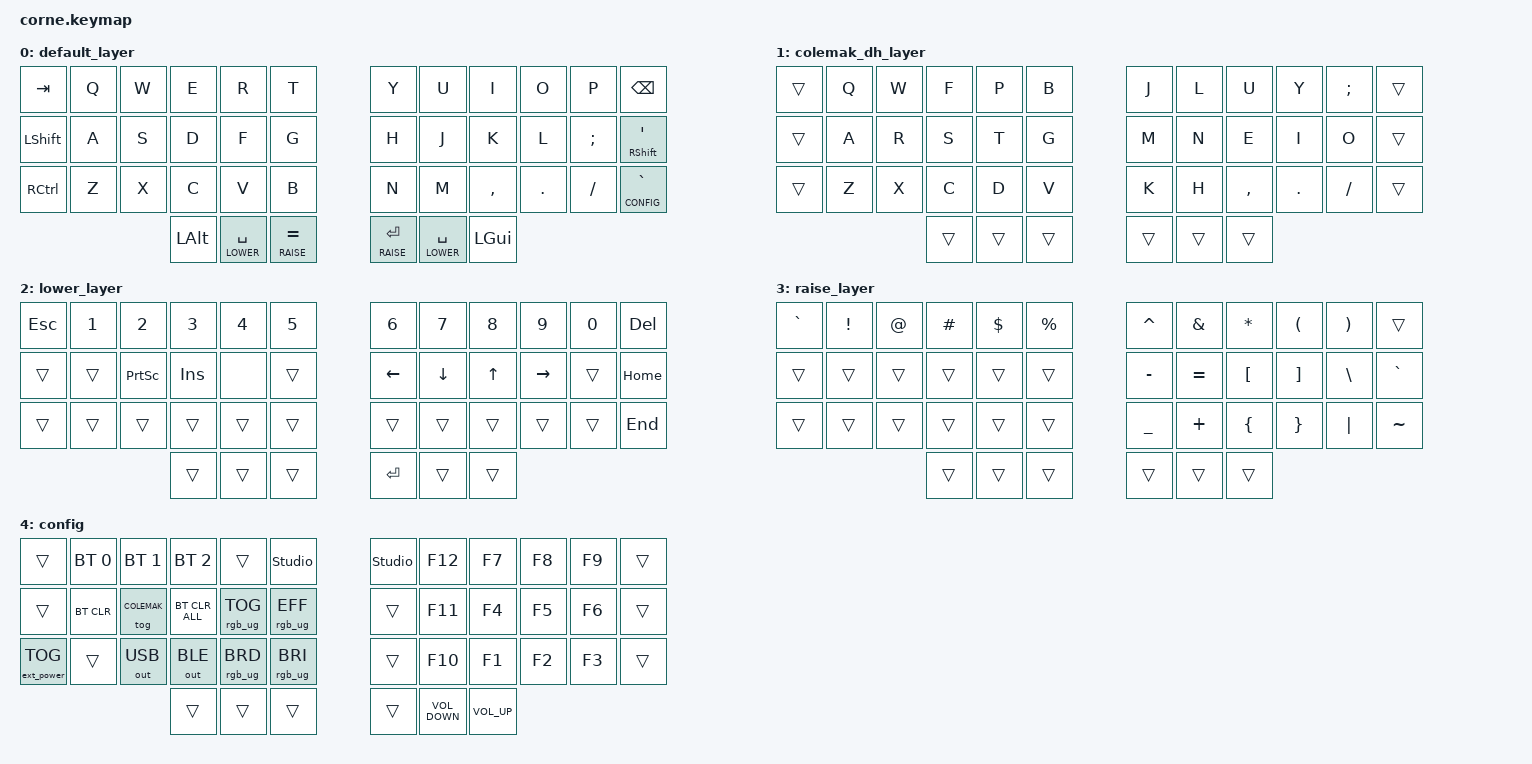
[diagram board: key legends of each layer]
/*
 * Copyright (c) 2020 The ZMK Contributors
 *
 * SPDX-License-Identifier: MIT
 */
// ZMK includes

#include <behaviors.dtsi>
#include <dt-bindings/zmk/bt.h>
#include <dt-bindings/zmk/ext_power.h>
#include <dt-bindings/zmk/keys.h>
#include <dt-bindings/zmk/outputs.h>
#include <dt-bindings/zmk/rgb.h>

// Layer indices. COLEMAK must sit directly above BASE so that, while it is
// toggled on, LOWER/RAISE/CONFIG still take priority over it.
#define BASE 0
#define COLEMAK 1
#define LOWER 2
#define RAISE 3
#define CONFIG 4

/*
 * Blue (clicky) switches chatter more than the 5ms ZMK default debounce
 * accounts for, causing random double key presses. Raise both press and
 * release debounce to filter that out. (Placed here, not in
 * nice_nano_v2.overlay, because &kscan0 is only defined once the shield's
 * corne.dtsi has been merged in, which happens before the keymap overlay
 * is applied but after the board overlay.)
 */
&kscan0 {
    debounce-press-ms = <10>;
    debounce-release-ms = <10>;
};

/*
 * Same ordering gotcha as &kscan0 above: led_strip is defined by the
 * shield's boards/nice_nano_v2.overlay, merged in after the board overlay
 * but before this keymap overlay, so the override has to live here.
 * Corrects the shield's default chain-length (10) to this build's actual
 * LED count (21: back-edge underglow + under-switch).
 */
#define LED_COUNT 21

&led_strip {
    chain-length = <LED_COUNT>;
};

/*
 * Route the underglow through the BT profile indicator (rgb_layer_color
 * module), which lights the active profile's key LED on top of it. LED
 * indices are set in corne.conf (RGB_BT_PROFILE_INDICATOR_LED_<n>).
 */
/ {
    indicator_strip: indicator_strip {
        compatible = "gpmontt,led-strip-indicator";
        led-strip = <&led_strip>;
        chain-length = <LED_COUNT>;
    };

    chosen {
        zmk,underglow = &indicator_strip;
    };
};

/ {
    macros {
        lower_layer: lower_layer {
            compatible = "zmk,behavior-macro";
            #binding-cells = <0>;
            bindings =
                <&macro_press>,
                <&lt LOWER SPACE>,
                <&macro_tap>,
                <&rgb_ug RGB_ON &rgb_ug RGB_COLOR_HSB(0,100,49)>,
                <&macro_pause_for_release>,
                <&macro_release>,
                <&lt LOWER SPACE>,
                <&macro_tap>,
                <&rgb_ug RGB_OFF>;

            label = "LOWER_LAYER";
        };

        raise_layer: raise_layer {
            compatible = "zmk,behavior-macro";
            #binding-cells = <0>;
            bindings =
                <&macro_press>,
                <&mo RAISE>,
                <&macro_tap>,
                <&rgb_ug RGB_ON &rgb_ug RGB_COLOR_HSB(300,51,43)>,
                <&macro_pause_for_release>,
                <&macro_release>,
                <&mo RAISE>,
                <&macro_tap>,
                <&rgb_ug RGB_OFF>;

            label = "RAISE_LAYER";
        };
    };

    // Combos (press both keys together; positions are physical, so they
    // work the same in QWERTY and Colemak-DH):
    //   E+R = {    D+F = [    C+V = (    |    U+I = }    J+K = ]    M+, = )
    //   TAB+T = reset left half          |    Y+BSPC = reset right half
    combos {
        compatible = "zmk,combos";

        L_Brace {
            bindings = <&kp LEFT_BRACE>;
            key-positions = <4 3>;
        };

        L_Brackets {
            bindings = <&kp LEFT_BRACKET>;
            key-positions = <16 15>;
        };

        L_Parenthesis {
            bindings = <&kp LEFT_PARENTHESIS>;
            key-positions = <28 27>;
        };

        R_Brace {
            bindings = <&kp RIGHT_BRACE>;
            key-positions = <7 8>;
        };

        R_Brackets {
            bindings = <&kp RIGHT_BRACKET>;
            key-positions = <20 19>;
        };

        R_Parenthesis {
            bindings = <&kp RIGHT_PARENTHESIS>;
            key-positions = <32 31>;
        };

        reset_left {
            bindings = <&sys_reset>;
            key-positions = <0 5>;
        };

        reset_right {
            bindings = <&sys_reset>;
            key-positions = <6 11>;
        };
    };

    behaviors {
        tp: tap_preferred {
            compatible = "zmk,behavior-hold-tap";
            label = "TAP_PREFERRED";
            bindings = <&none>, <&none>;

            #binding-cells = <2>;
            tapping-term-ms = <150>;
            quick-tap-ms = <0>;
            flavor = "tap-preferred";
        };
    };

    keymap {
        compatible = "zmk,keymap";

        default_layer {
            // -----------------------------------------------------------------------------------------
            // |  TAB |  Q  |  W  |  E  |  R  |  T  |   |  Y  |  U  |  I  |  O  |  P  | BSPC |
            // | SHFT |  A  |  S  |  D  |  F  |  G  |   |  H  |  J  |  K  |  L  |  ;  |'/SFT |
            // | RCTL |  Z  |  X  |  C  |  V  |  B  |   |  N  |  M  |  ,  |  .  |  /  |`/CFG |
            //                    | ALT |SPC/L|=/RSE|   |ENT/R|SPC/L| GUI |
            // hold: SFT = right shift, CFG = config layer, L = lower layer, R/RSE = raise layer

            bindings = <
&kp TAB     &kp Q  &kp W  &kp E         &kp R        &kp T          &kp Y        &kp U        &kp I      &kp O    &kp P     &kp BACKSPACE
&kp LSHIFT  &kp A  &kp S  &kp D         &kp F        &kp G          &kp H        &kp J        &kp K      &kp L    &kp SEMI  &mt RSHIFT APOS
&kp RCTRL   &kp Z  &kp X  &kp C         &kp V        &kp B          &kp N        &kp M        &kp COMMA  &kp DOT  &kp FSLH  &lt CONFIG GRAVE
                          &kp LEFT_ALT  &lt LOWER SPACE  &lt RAISE EQUAL    &lt RAISE ENTER  &lt LOWER SPACE  &kp LGUI
            >;
        };

        colemak_dh_layer {
            // Toggled on/off with &tog COLEMAK on the config layer. Only the
            // letter block changes; blank keys fall through to the default layer.
            // -----------------------------------------------------------------------------------------
            // |      |  Q  |  W  |  F  |  P  |  B  |   |  J  |  L  |  U  |  Y  |  ;  |      |
            // |      |  A  |  R  |  S  |  T  |  G  |   |  M  |  N  |  E  |  I  |  O  |      |
            // |      |  Z  |  X  |  C  |  D  |  V  |   |  K  |  H  |  ,  |  .  |  /  |      |
            //                    |     |     |     |   |     |     |     |

            bindings = <
&trans  &kp Q  &kp W  &kp F   &kp P   &kp B     &kp J   &kp L   &kp U      &kp Y    &kp SEMI  &trans
&trans  &kp A  &kp R  &kp S   &kp T   &kp G     &kp M   &kp N   &kp E      &kp I    &kp O     &trans
&trans  &kp Z  &kp X  &kp C   &kp D   &kp V     &kp K   &kp H   &kp COMMA  &kp DOT  &kp FSLH  &trans
                      &trans  &trans  &trans    &trans  &trans  &trans
            >;
        };

        lower_layer {
            // -----------------------------------------------------------------------------------------
            // |  ESC |  1  |  2  |  3  |  4  |  5  |   |  6  |  7  |  8  |  9  |  0  | DEL  |
            // |      |     |PSCRN| INS |  x  |     |   | LFT | DWN |  UP | RGT |     | HOME |
            // |      |     |     |     |     |     |   |     |     |     |     |     | END  |
            //                    |     |     |     |   | ENT |     |     |
            // blank = transparent, x = none

            bindings = <
&kp ESC  &kp N1  &kp N2           &kp N3   &kp N4  &kp N5    &kp N6     &kp N7    &kp N8  &kp N9     &kp N0  &kp DELETE
&trans   &trans  &kp PRINTSCREEN  &kp INS  &none   &trans    &kp LEFT   &kp DOWN  &kp UP  &kp RIGHT  &trans  &kp HOME
&trans   &trans  &trans           &trans   &trans  &trans    &trans     &trans    &trans  &trans     &trans  &kp END
                                  &trans   &trans  &trans    &kp ENTER  &trans    &trans
            >;
        };

        raise_layer {
            // -----------------------------------------------------------------------------------------
            // |   `  |  !  |  @  |  #  |  $  |  %  |   |  ^  |  &  |  *  |  (  |  )  |      |
            // |      |     |     |     |     |     |   |  -  |  =  |  [  |  ]  |  \  |  `   |
            // |      |     |     |     |     |     |   |  _  |  +  |  {  |  }  |  |  |  ~   |
            //                    |     |     |     |   |     |     |     |
            // blank = transparent

            bindings = <
&kp GRAVE  &kp EXCL  &kp AT  &kp HASH  &kp DLLR  &kp PRCNT    &kp CARET  &kp AMPS   &kp ASTERISK  &kp LPAR  &kp RPAR  &trans
&trans     &trans    &trans  &trans    &trans    &trans       &kp MINUS  &kp EQUAL  &kp LBKT      &kp RBKT  &kp BSLH  &kp GRAVE
&trans     &trans    &trans  &trans    &trans    &trans       &kp UNDER  &kp PLUS   &kp LBRC      &kp RBRC  &kp PIPE  &kp TILDE
                             &trans    &trans    &trans       &trans     &trans     &trans
            >;
        };

        config {
            // -----------------------------------------------------------------------------------------
            // |      | BT0 | BT1 | BT2 |     |STUDI|   |STUDI| F12 |  F7 |  F8 |  F9 |      |
            // |      |BTCLR|CLMAK|BTCLA|RGBTG|RGBEF|   |     | F11 |  F4 |  F5 |  F6 |      |
            // | EXTPW|     | USB | BLE |BRT- |BRT+ |   |     | F10 |  F1 |  F2 |  F3 |      |
            //                    |     |     |     |   |     |VOL- |VOL+ |
            // BT0-2 = select BT profile, BTCLR = clear current profile, BTCLA = clear all profiles,
            // USB/BLE = send output over USB/BLE,
            // CLMAK = toggle Colemak-DH, STUDI = ZMK Studio unlock, RGBTG = underglow on/off,
            // RGBEF = next underglow effect, BRT-/+ = underglow brightness,
            // EXTPW = toggle LED power, blank = transparent, x = none

            bindings = <
&trans             &bt BT_SEL 0  &bt BT_SEL 1  &bt BT_SEL 2    &trans           &studio_unlock   &studio_unlock  &kp F12  &kp F7  &kp F8  &kp F9  &trans
&trans             &bt BT_CLR    &tog COLEMAK  &bt BT_CLR_ALL  &rgb_ug RGB_TOG  &rgb_ug RGB_EFF  &trans          &kp F11  &kp F4  &kp F5  &kp F6  &trans
&ext_power EP_TOG  &trans        &out OUT_USB  &out OUT_BLE        &rgb_ug RGB_BRD  &rgb_ug RGB_BRI  &trans          &kp F10  &kp F1  &kp F2  &kp F3  &trans
                                               &trans          &trans           &trans           &trans          &kp C_VOLUME_DOWN  &kp C_VOLUME_UP
            >;
        };
    };
};
